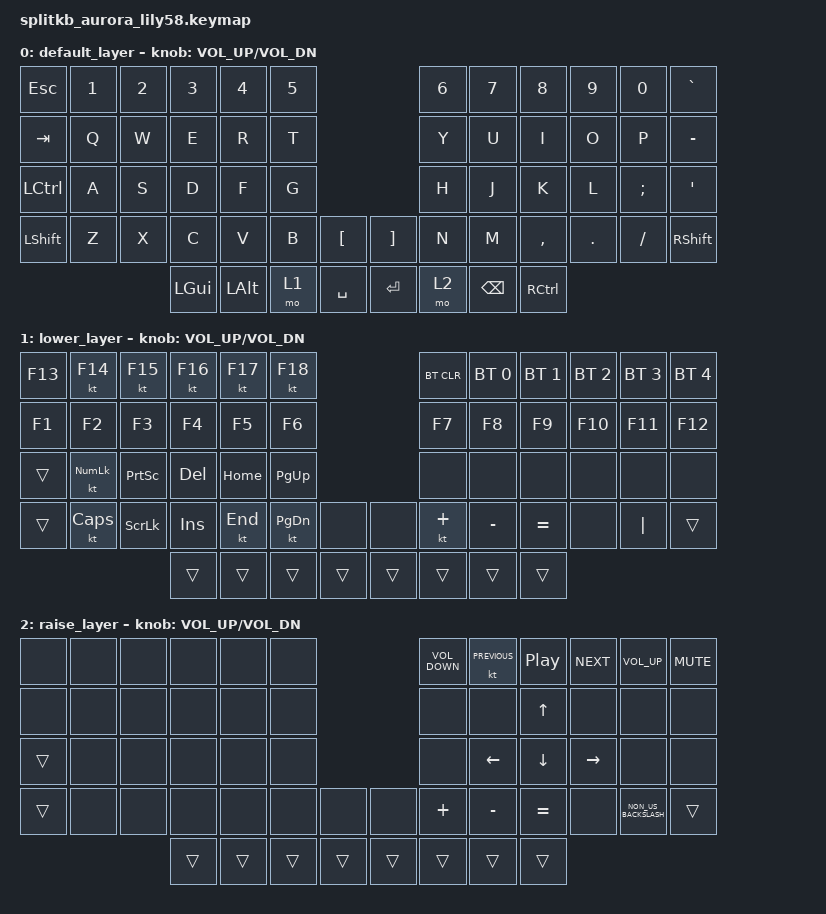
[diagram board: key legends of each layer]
/*
 * Copyright (c) 2022 The ZMK Contributors
 *
 * SPDX-License-Identifier: MIT
 */

#include <behaviors.dtsi>
#include <dt-bindings/zmk/bt.h>
#include <dt-bindings/zmk/keys.h>
#include <dt-bindings/zmk/keys.h>

/ {
    keymap {
        compatible = "zmk,keymap";

        default_layer {
            // ------------------------------------------------------------------------------------------------------------
            // |  ESC  |  1  |  2  |  3   |  4   |  5   |                   |  6   |  7    |  8    |  9   |   0   |   `   |
            // |  TAB  |  Q  |  W  |  E   |  R   |  T   |                   |  Y   |  U    |  I    |  O   |   P   |   -   |
            // |  CTRL |  A  |  S  |  D   |  F   |  G   |                   |  H   |  J    |  K    |  L   |   ;   |   '   |
            // | SHIFT |  Z  |  X  |  C   |  V   |  B   |   "["  |  |  "]"  |  N   |  M    |  ,    |  .   |   /   | SHIFT |
            //                     | ALT  | GUI  | LOWER|  SPACE |  | ENTER | RAISE| BSPC  | GUI   |

            bindings = <
&kp ESC    &kp N1  &kp N2  &kp N3        &kp N4    &kp N5                         &kp N6  &kp N7    &kp N8     &kp N9   &kp N0    &kp GRAVE
&kp TAB    &kp Q   &kp W   &kp E         &kp R     &kp T                          &kp Y   &kp U     &kp I      &kp O    &kp P     &kp MINUS
&kp LCTRL  &kp A   &kp S   &kp D         &kp F     &kp G                          &kp H   &kp J     &kp K      &kp L    &kp SEMI  &kp SQT
&kp LSHFT  &kp Z   &kp X   &kp C         &kp V     &kp B   &kp LBKT     &kp RBKT  &kp N   &kp M     &kp COMMA  &kp DOT  &kp FSLH  &kp RSHFT
                           &kp LEFT_GUI  &kp LALT  &mo 1   &kp SPACE    &kp RET   &mo 2   &kp BSPC  &kp RCTRL
            >;

            sensor-bindings = <&inc_dec_kp C_VOL_UP C_VOL_DN>;
        };

        lower_layer {
            // ------------------------------------------------------------------------------------------------------------
            // | BTCLR | BT1 | BT2 |  BT3 |  BT4 |  BT5 |                   |      |       |       |      |       |       |
            // |  F1   |  F2 |  F3 |  F4  |  F5  |  F6  |                   |  F7  |  F8   |  F9   |  F10 |  F11  |  F12  |
            // |   `   |  !  |  @  |  #   |  $   |  %   |                   |  ^   |  &    |  *    |  (   |   )   |   ~   |
            // |       |     |     |      |      |      |        |  |       |      |  _    |  +    |  {   |   }   |  "|"  |
            //                     |      |      |      |        |  |       |      |       |       |

            bindings = <
&kp F13  &kt F14         &kt F15          &kt F16  &kt F17   &kt F18                          &bt BT_CLR  &bt BT_SEL 0  &bt BT_SEL 1  &bt BT_SEL 2  &bt BT_SEL 3  &bt BT_SEL 4
&kp F1   &kp F2          &kp F3           &kp F4   &kp F5    &kp F6                           &kp F7      &kp F8        &kp F9        &kp F10       &kp F11       &kp F12
&trans   &kt KP_NUMLOCK  &kp PRINTSCREEN  &kp DEL  &kp HOME  &kp PAGE_UP                      &none       &none         &none         &none         &none         &none
&trans   &kt CAPSLOCK    &kp SCROLLLOCK   &kp INS  &kt END   &kt PAGE_DOWN  &none     &none   &kt PLUS    &kp MINUS     &kp EQUAL     &none         &kp PIPE      &trans
                                          &trans   &trans    &trans         &trans    &trans  &trans      &trans        &trans
            >;

            sensor-bindings = <&inc_dec_kp C_VOL_UP C_VOL_DN>;
        };

        raise_layer {
            // ------------------------------------------------------------------------------------------------------------
            // |       |     |     |      |      |      |                   |      |       |       |      |       |       |
            // |   `   |  1  |  2  |  3   |  4   |  5   |                   |  6   |   7   |   8   |  9   |   0   |       |
            // |   F1  |  F2 |  F3 |  F4  |  F5  |  F6  |                   |      |   <-  |   v   |  ^   |  ->   |       |
            // |   F7  |  F8 |  F9 |  F10 |  F11 |  F12 |        |  |       |  +   |   -   |   =   |  [   |   ]   |   \   |
            //                     |      |      |      |        |  |       |      |       |       |

            bindings = <
&none   &none  &none  &none   &none   &none                     &kp C_VOLUME_DOWN  &kt C_PREVIOUS  &kp C_PLAY_PAUSE  &kp C_NEXT  &kp C_VOLUME_UP       &kp C_MUTE
&none   &none  &none  &none   &none   &none                     &none              &none           &kp UP_ARROW      &none       &none                 &none
&trans  &none  &none  &none   &none   &none                     &none              &kp LEFT        &kp DOWN          &kp RIGHT   &none                 &none
&trans  &none  &none  &none   &none   &none   &none     &none   &kp PLUS           &kp MINUS       &kp EQUAL         &none       &kp NON_US_BACKSLASH  &trans
                      &trans  &trans  &trans  &trans    &trans  &trans             &trans          &trans
            >;

            sensor-bindings = <&inc_dec_kp C_VOL_UP C_VOL_DN>;
        };
    };
};
